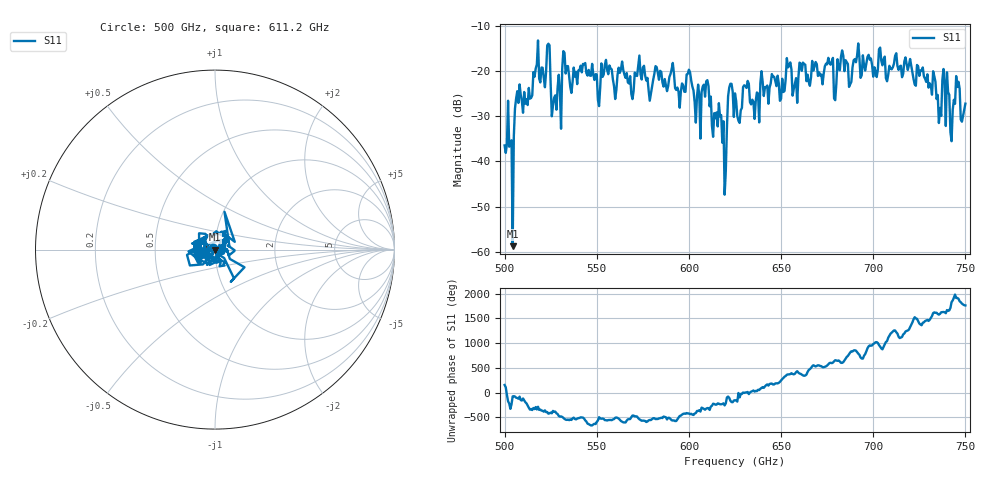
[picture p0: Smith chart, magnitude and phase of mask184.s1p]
!Created with skrf (http://scikit-rf.org).
# GHz S MA R 50.0
!freq magS11 angS11
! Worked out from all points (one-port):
!   401 points, 500 GHz to 750 GHz, reference 50 ohm
!   lowest |S11| = -58.7 dB at 504.4 GHz (marker M1), VSWR 1.00, Z = 50 - j0.113 ohm
!   |S11| at or under -10 dB: start of sweep to end of sweep
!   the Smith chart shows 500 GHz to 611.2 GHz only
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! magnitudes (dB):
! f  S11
! 500 GHz  -36.5
! 504.4 GHz  -58.7
! 506.9 GHz  -24.5
! 513.8 GHz  -26.1
! 516.9 GHz  -19.5
! 523.8 GHz  -14.0
! 526.9 GHz  -25.9
! 531.2 GHz  -19.5
! 562.5 GHz  -20.4
! 579.4 GHz  -25.0
! 590.6 GHz  -19.6
! 593.8 GHz  -23.7
! 600 GHz  -19.7
! 605 GHz  -23.0
! 609.4 GHz  -22.3
! 617.5 GHz  -29.7
! 619.4 GHz  -47.3
! 622.5 GHz  -22.8
! 625 GHz  -25.0
! 656.2 GHz  -25.5
! 687.5 GHz  -22.9
! 691.2 GHz  -16.6
! 718.8 GHz  -19.8
! 735.6 GHz  -31.5
! 738.8 GHz  -22.8
! 743.1 GHz  -28.6
! 745.6 GHz  -23.6
! 750 GHz  -27.2
